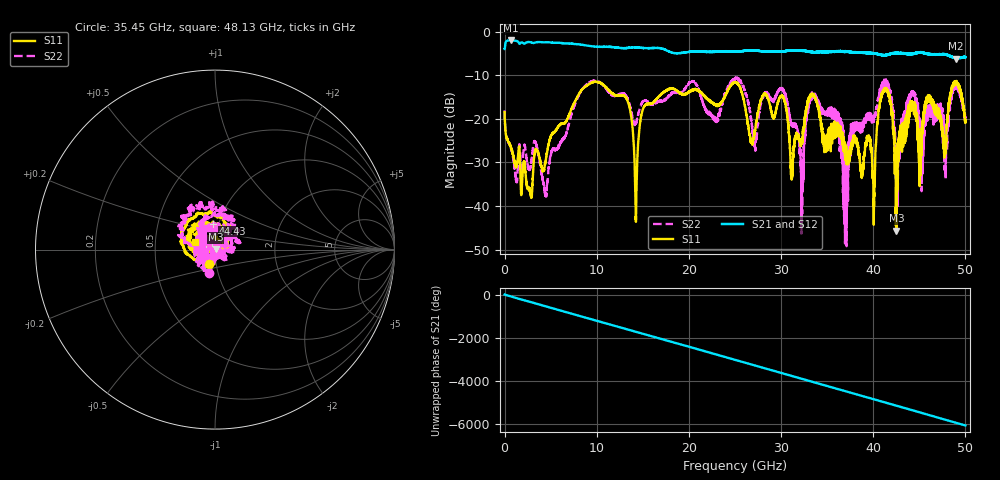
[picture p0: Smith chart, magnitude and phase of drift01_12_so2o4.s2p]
!Created with skrf (http://scikit-rf.org).
# Hz S RI R 50.0
!freq ReS11 ImS11 ReS21 ImS21 ReS12 ImS12 ReS22 ImS22
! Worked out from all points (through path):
!   10001 points, 300 kHz to 50 GHz, reference 50 ohm
!   highest |S21| = -2.00 dB at 710.3 MHz (marker M1); lowest = -6.1 dB at 48.98 GHz (marker M2)
!   group delay of S21, straight-line fit = 336 ps
!   lowest |S11| = -45.7 dB at 42.51 GHz (marker M3), VSWR 1.01, Z = 50.5 + j0.104 ohm
!   |S11| at or under -10 dB: start of sweep to end of sweep
!   |S22| runs from -49.2 to -10.5 dB; largest |S21 - S12| = 0.019
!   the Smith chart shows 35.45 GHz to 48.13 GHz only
!   S11 on the Smith chart (normalised r, x): 35.45 GHz: 0.93, -0.15; 44.43 GHz: 0.94, +0.28; 48.13 GHz: 0.80, +0.07
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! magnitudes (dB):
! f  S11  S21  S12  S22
! 300 kHz  -18.4  -4.0  -4.0  -18.1
! 710.3 MHz  -26.7  -2.0  -2.0  -26.8
! 4.435 GHz  -29.9  -2.4  -2.4  -37.1
! 8.335 GHz  -13.5  -3.0  -3.0  -13.5
! 13.17 GHz  -15.1  -3.7  -3.7  -14.7
! 14.25 GHz  -42.4  -3.6  -3.6  -21.0
! 16.67 GHz  -14.9  -3.7  -3.7  -15.9
! 25 GHz  -11.6  -4.5  -4.6  -10.8
! 27.14 GHz  -22.7  -4.3  -4.3  -25.8
! 30.2 GHz  -15.1  -4.5  -4.5  -13.4
! 31.14 GHz  -31.4  -4.3  -4.3  -21.3
! 32.23 GHz  -24.9  -4.4  -4.4  -43.0
! 33.34 GHz  -14.3  -4.7  -4.6  -14.7
! 35.45 GHz  -21.1  -4.6  -4.6  -17.3
! 37.03 GHz  -26.8  -4.5  -4.6  -32.7
! 40.06 GHz  -44.3  -5.0  -5.0  -20.4
! 41.67 GHz  -14.3  -5.1  -5.2  -12.7
! 42.51 GHz  -45.7  -4.9  -4.9  -27.8
! 44.43 GHz  -16.7  -5.0  -5.0  -14.8
! 48.13 GHz  -18.4  -5.3  -5.3  -20.4
! 48.98 GHz  -11.4  -6.1  -6.0  -12.9
! 50 GHz  -20.2  -5.8  -5.8  -20.0
